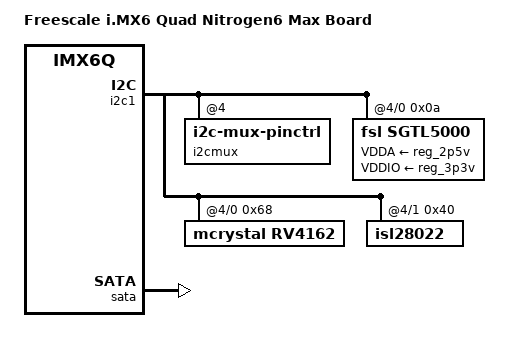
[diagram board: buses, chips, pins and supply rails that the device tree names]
/*
 * Copyright 2013 Boundary Devices
 * Copyright 2012 Freescale Semiconductor, Inc.
 * Copyright 2011 Linaro Ltd.
 *
 * The code contained herein is licensed under the GNU General Public
 * License. You may obtain a copy of the GNU General Public License
 * Version 2 or later at the following locations:
 *
 * http://www.opensource.org/licenses/gpl-license.html
 * http://www.gnu.org/copyleft/gpl.html
 */

/dts-v1/;

#include <dt-bindings/interrupt-controller/irq.h>
#include "imx6q.dtsi"
#include "imx6qdl-nitrogen6_max.dtsi"

/ {
	model = "Freescale i.MX6 Quad Nitrogen6 Max Board";
	compatible = "fsl,imx6q-nitrogen6_max", "fsl,imx6q";
};

&iomuxc_imx6q_nitrogen6_max {
	pinctrl_i2c1_dac: i2c1_dacgrp {
		fsl,pins = <
				MX6QDL_PAD_CSI0_DAT9__I2C1_SCL          0x4001b8b1
				MX6QDL_PAD_CSI0_DAT8__I2C1_SDA          0x4001b8b1
			>;
	};

	pinctrl_i2c1b_isl28022: i2c1b_isl28022 {
		fsl,pins = <
#define GPIRQ_ISL28022         <&gpio5 28 IRQ_TYPE_LEVEL_LOW>
#define GP_ISL28022            <&gpio5 28 GPIO_ACTIVE_LOW>
				MX6QDL_PAD_CSI0_DAT10__GPIO5_IO28               0x1f0b0
			>;
	};
};

/ {
	i2cmux@4 {
		compatible = "i2c-mux-pinctrl";
		i2c-parent = <&i2c1>;
	
		pinctrl-names = "std", "dac";
		pinctrl-0 = <&pinctrl_i2c1>;
		pinctrl-1 = <&pinctrl_i2c1_dac>;
		#address-cells = <1>;
		#size-cells = <0>;
		mux-gpios = GP_I2C3MUX_A;
		idle-state = <0>;
	
		i2c1a: i2c1@0 {
			reg = <0>;
			#address-cells = <1>;
			#size-cells = <0>;
		};

		i2c1b: i2c1@1 {
			reg = <1>;
			#address-cells = <1>;
			#size-cells = <0>;
		};
	};
};

&hdmi_core {
	ipu_id = <1>;
};

&i2c1 {
	/delete-property/ pinctrl-names;
	/delete-property/ pinctrl-0;
	/delete-node/ sgtl5000@0a;
	/delete-node/ rv4162@68;
};

&i2c1a {
	clock-frequency = <100000>;
	status = "okay";

	sgtl5000: sgtl5000@0a {
		compatible = "fsl,sgtl5000";
		pinctrl-names = "default";
		pinctrl-0 = <&pinctrl_i2c1_sgtl5000>;
		reg = <0x0a>;
		clocks = <&clks IMX6QDL_CLK_CKO>;
		VDDA-supply = <&reg_2p5v>;
		VDDIO-supply = <&reg_3p3v>;
	};

	rv4162@68 {
		compatible = "mcrystal,rv4162";
		pinctrl-names = "default";
		pinctrl-0 = <&pinctrl_i2c1_rv4162>;
		reg = <0x68>;
		interrupts-extended = GPIRQ_RTC_RV4162;
	};
};

&i2c1b {
	clock-frequency = <10000>;
	status = "okay";

	isl28022@40 {
		compatible = "isl28022";
		interrupts-extended = GPIRQ_ISL28022;
		pinctrl-names = "default";
		pinctrl-0 = <&pinctrl_i2c1b_isl28022>;
		reg = <0x40>;
		bus-voltage-max = <16>; 	/* 16/32/60 Volts for full range */
		shunt-voltage-max = <320>;	/* 40/80/160/320 mV */
		bus-adc-cfg = <2>;		/* 2 means 14-bit, 258 uSec */
		shunt-adc-cfg = <2>;		/* 2 means 14-bit, 258 uSec */
		rshunt = <10>;			/* ohms */
	};
};

&i2c2a {
	/delete-node/ ov5642@3c;
};

&i2c2b {
	/delete-node/ ov5640_mipi@3c;
	/delete-node/ tc358743_mipi@0f;
};

&i2c3 {
	/delete-node/ atmel_maxtouch@4a;
	/delete-node/ egalax_ts@04;
	/delete-node/ ft5x06_ts@38;
	/delete-node/ gt911@14;
	/delete-node/ gt911@5d;
	/delete-node/ ili210x@41;
	/delete-node/ ov5640@3c;
	/delete-node/ tsc2004@48;
};

&pinctrl_i2c3_ov5640 { /* parallel camera */
	fsl,pins = <
		MX6QDL_PAD_EIM_A17__IPU2_CSI1_DATA12	0xb0b1
		MX6QDL_PAD_EIM_A18__IPU2_CSI1_DATA13	0xb0b1
		MX6QDL_PAD_EIM_A19__IPU2_CSI1_DATA14	0xb0b1
		MX6QDL_PAD_EIM_A20__IPU2_CSI1_DATA15	0xb0b1
		MX6QDL_PAD_EIM_A21__IPU2_CSI1_DATA16	0xb0b1
		MX6QDL_PAD_EIM_A22__IPU2_CSI1_DATA17	0xb0b1
		MX6QDL_PAD_EIM_A23__IPU2_CSI1_DATA18	0xb0b1
		MX6QDL_PAD_EIM_EB2__IPU2_CSI1_DATA19	0xb0b1
		MX6QDL_PAD_EIM_DA10__IPU2_CSI1_DATA_EN	0xb0b1
		MX6QDL_PAD_EIM_A16__IPU2_CSI1_PIXCLK	0xb0b1
		MX6QDL_PAD_EIM_DA11__IPU2_CSI1_HSYNC	0xb0b1
		MX6QDL_PAD_EIM_DA12__IPU2_CSI1_VSYNC	0xb0b1
	>;
};

&sata {
	status = "okay";
};

&v4l2_cap_2 {
	ipu_id = <1>;
};
